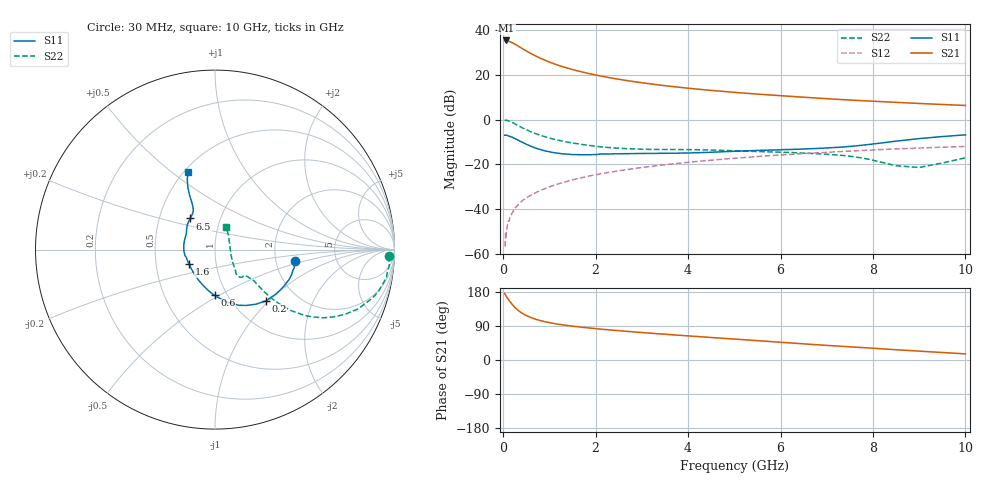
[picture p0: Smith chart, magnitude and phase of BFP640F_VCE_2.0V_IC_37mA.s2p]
! Infineon Technologies  Discrete & RF Semiconductors
! BFP640F
! VCE =  2.0 V,  IC =  37 mA
! Common Emitter S-Parameters:  Apr 2013
# GHz  S  MA  R  50
!  f  S11  S21  S12  S22
! GHz  MAG  ANG  MAG  ANG  MAG  ANG  MAG  ANG
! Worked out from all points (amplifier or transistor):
!   99 points, 30 MHz to 10 GHz, reference 50 ohm
!   highest |S21| = 35.4 dB at 70 MHz (marker M1)
!   |S21| within 3 dB of that: start of sweep to 361.5 MHz
!   unconditionally stable (mu >= 1): 1.598 GHz to end of sweep
!   at 350 MHz: K = 0.54, MSG = 35.0 dB, |S12| = -37.4 dB
!   at 3.5 GHz: K = 1.06, MAG = 16.1 dB, |S12| = -20.1 dB
!   at 10 GHz: K = 1.04, MAG = 7.9 dB, |S12| = -11.9 dB
!   S11 on the Smith chart (normalised r, x): 30 MHz: 2.56, -0.39; 200 MHz: 1.41, -0.96; 600 MHz: 0.87, -0.48; 1.6 GHz: 0.74, -0.12; 6.5 GHz: 0.72, +0.26; 10 GHz: 0.52, +0.57
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0.03  0.449 -7.8  57.46 175.3  0.0015 97.7  0.9699 -2.1
0.05  0.4532 -12.7  58.67 171.7  0.0029 78.9  0.9753 -5.0
0.07  0.4495 -17.5  58.71 167.5  0.0033 77.1  0.9678 -7.8
0.14  0.4241 -33.7  55.13 155.0  0.0064 83.8  0.9214 -16.6
0.2  0.4025 -45.3  51.92 145.7  0.0085 80.6  0.8633 -22.5
0.25  0.3806 -53.0  48.86 139.1  0.0106 76.3  0.8098 -26.4
0.3  0.3579 -60.3  45.6 133.4  0.0119 74.8  0.7593 -29.6
0.4  0.3165 -72.2  39.42 124.2  0.0152 74.5  0.6686 -34.2
0.5  0.2827 -81.7  34.22 117.4  0.018 73.6  0.5968 -37.0
0.6  0.2548 -90.6  29.96 112.0  0.0206 72.9  0.5374 -38.9
0.8  0.2157 -105.9  23.61 104.1  0.0262 73.2  0.4507 -40.4
1  0.1918 -119.2  19.33 98.6  0.0317 72.8  0.3896 -40.7
1.3  0.1724 -136.8  15.1 92.5  0.0398 72.4  0.3291 -40.0
1.6  0.1657 -150.9  12.36 87.9  0.0479 71.4  0.2911 -39.2
1.7  0.1652 -154.9  11.66 86.5  0.0507 71.3  0.28 -38.7
2.4  0.1727 -176.4  8.316 78.4  0.0696 68.0  0.2342 -39.9
3.4  0.1776 162.8  5.91 68.8  0.096 63.1  0.216 -43.6
5.1  0.1987 142.2  4.005 54.4  0.1401 53.8  0.201 -48.6
6.5  0.2219 128.6  3.173 42.6  0.175 45.5  0.1794 -48.9
6.7  0.2258 126.3  3.078 40.9  0.1797 44.3  0.1755 -48.4
8.5  0.3317 115.1  2.437 27.1  0.2222 33.6  0.0936 -18.1
10  0.4588 109.2  2.078 16.1  0.2536 24.7  0.1411 63.8
